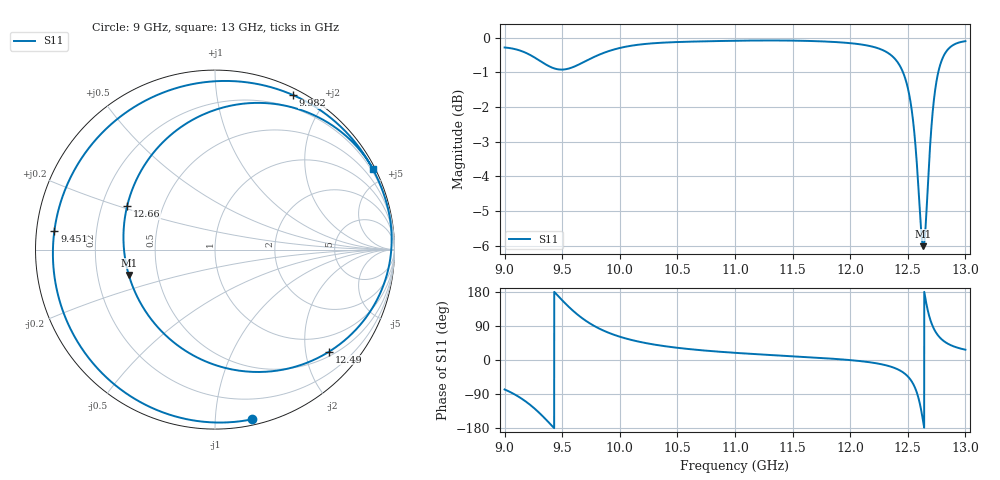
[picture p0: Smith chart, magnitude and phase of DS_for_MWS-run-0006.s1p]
! TOUCHSTONE file generated by CST DESIGN STUDIO
! Date and time: Tue Feb  4 14:29:05 2025
! Project name: C:\Work\MatlabApps\UnitCellOptimizationMatlab\CST\unitcell.cst
! Tree item: Tasks\Sweep1\SPara1\S-Parameters
! Header version: 2024
! Port assignment regex: !\s*Touchstone port\s*([0-9]+)\s*=\s*(CST MWS port|CST DES external port|CST DES block port)\s*(.+)\s* \(\"(.*)\"\)(\s*mode\s*([0-9]+))?.*
! Touchstone port assignment:
! Touchstone port 1 = CST DES external port 1 ("")
# GHz S MA R 50
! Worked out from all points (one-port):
!   4001 points, 9 GHz to 13 GHz, reference 50 ohm
!   lowest |S11| = -6.0 dB at 12.63 GHz (marker M1), VSWR 3.01, Z = 16.9 - j6.41 ohm
!   |S11| at or under -10 dB: nowhere
!   S11 on the Smith chart (normalised r, x): 9 GHz: 0.04, -1.24; 9.451 GHz: 0.05, +0.06; 9.982 GHz: 0.07, +1.62; 12.49 GHz: 0.60, -2.50; 12.66 GHz: 0.31, +0.21; 13 GHz: 0.11, +4.14
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9  0.9678 -77.7
9.133  0.9582 -99.1
9.235  0.9415 -121.7
9.355  0.9153 -155.8
9.451  0.901 173.3
9.5  0.8994 157.6
9.597  0.9073 129.1
9.696  0.9237 105.4
9.982  0.9646 63.2
10  0.9662 61.4
10.215  0.979 45.3
10.5  0.9855 32.2
11  0.9897 18.9
11.5  0.9901 9.8
12  0.9818 -0.3
12.345  0.9462 -16.8
12.495  0.8531 -41.8
12.5  0.8464 -43.3
12.541  0.7708 -60.0
12.58  0.6532 -87.2
12.607  0.5543 -118.5
12.634  0.5007 -163.6
12.658  0.5462 153.7
12.696  0.708 105.6
12.737  0.8396 76.5
12.782  0.9146 58.1
12.835  0.9555 45.3
13  0.9882 27.2
